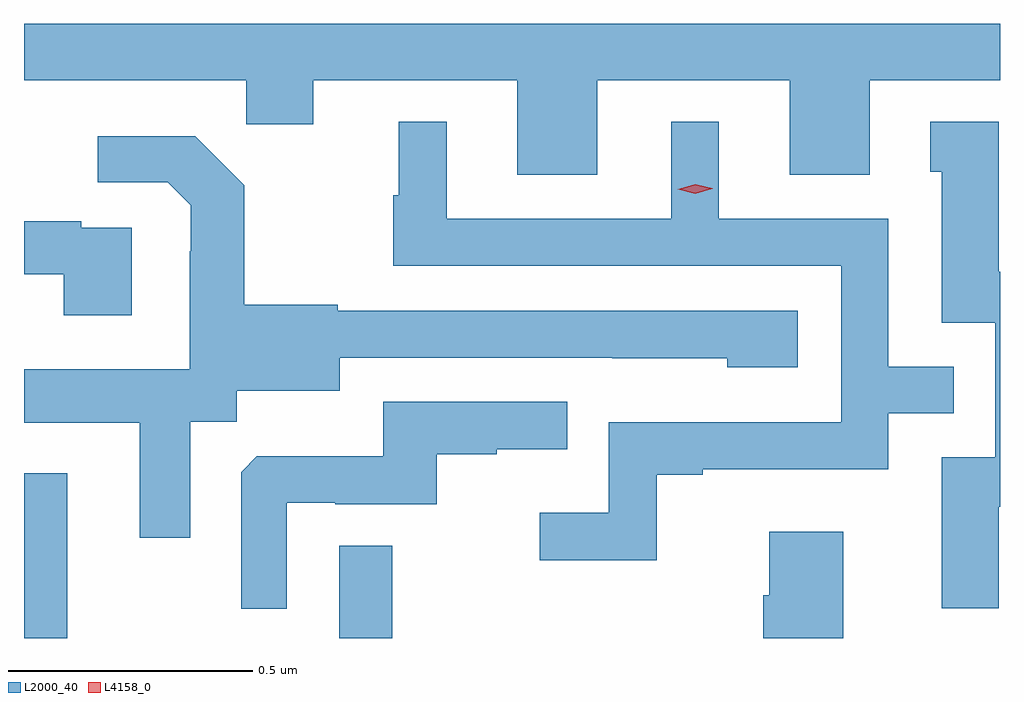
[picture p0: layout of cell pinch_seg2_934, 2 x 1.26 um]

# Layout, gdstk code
import gdstk
lib = gdstk.Library(unit=1e-6, precision=1e-09)
def R(c, l, rs):  # rectangles x0, y0, x1, y1
    for r in rs: c.add(gdstk.rectangle(r[:2], r[2:], *l))
def P(c, l, *ps):  # polygons
    for p in ps: c.add(gdstk.Polygon(p, *l))
L2000_40 = (2000, 40)
L4158_0 = (4158, 0)

pinch_seg2_934 = lib.new_cell('pinch_seg2_934')
R(pinch_seg2_934, L2000_40, [(428.822,665.14,428.911,665.479), (429.468,665.14,429.577,665.33)])
P(pinch_seg2_934, L2000_40, [(429.997,666.284),(430.391,666.284),(430.391,666.09),(430.555,666.09),(430.555,666.284),(430.822,666.284),(430.822,666.4),(428.822,666.4),(428.822,666.284),(429.277,666.284),(429.277,666.194),(429.415,666.194),(429.415,666.284),(429.833,666.284),(429.833,666.09),(429.997,666.09)],
  [(430.119,665.475),(430.213,665.475),(430.213,665.487),(430.593,665.487),(430.593,665.601),(430.727,665.601),(430.727,665.697),(430.593,665.697),(430.593,666),(430.246,666),(430.246,666.199),(430.148,666.199),(430.148,666),(429.688,666),(429.688,666.199),(429.59,666.199),(429.59,666.048),(429.579,666.048),(429.579,665.904),(430.497,665.904),(430.497,665.583),(430.02,665.583),(430.02,665.398),(429.879,665.398),(429.879,665.3),(430.119,665.3)],
  [(430.819,665.41),(430.822,665.41),(430.822,665.891),(430.819,665.891),(430.819,666.199),(430.679,666.199),(430.679,666.096),(430.703,666.096),(430.703,665.787),(430.812,665.787),(430.812,665.511),(430.703,665.511),(430.703,665.202),(430.819,665.202)],
  [(429.163,665.584),(429.258,665.584),(429.258,665.648),(429.469,665.648),(429.469,665.715),(430.027,665.715),(430.027,665.714),(430.263,665.714),(430.263,665.696),(430.408,665.696),(430.408,665.811),(429.465,665.811),(429.465,665.824),(429.273,665.824),(429.273,666.069),(429.173,666.169),(428.973,666.169),(428.973,666.075),(429.117,666.075),(429.164,666.028),(429.164,665.933),(429.162,665.933),(429.162,665.692),(428.822,665.692),(428.822,665.582),(429.059,665.582),(429.059,665.346),(429.163,665.346)],
  [(429.043,665.982),(428.939,665.982),(428.939,665.995),(428.822,665.995),(428.822,665.886),(428.903,665.886),(428.903,665.802),(429.043,665.802)],
  [(429.36,665.418),(429.46,665.418),(429.46,665.415),(429.668,665.415),(429.668,665.517),(429.791,665.517),(429.791,665.528),(429.935,665.528),(429.935,665.625),(429.558,665.625),(429.558,665.513),(429.299,665.513),(429.267,665.481),(429.267,665.201),(429.36,665.201)],
  [(430.501,665.359),(430.349,665.359),(430.349,665.229),(430.337,665.229),(430.337,665.14),(430.501,665.14)])
P(pinch_seg2_934, L4158_0, [(430.197,666.051),(430.162,666.06),(430.161,666.06),(430.162,666.06),(430.197,666.071),(430.232,666.063),(430.233,666.062),(430.232,666.062)])

lib.write_gds('pinch_seg2_934.gds')
